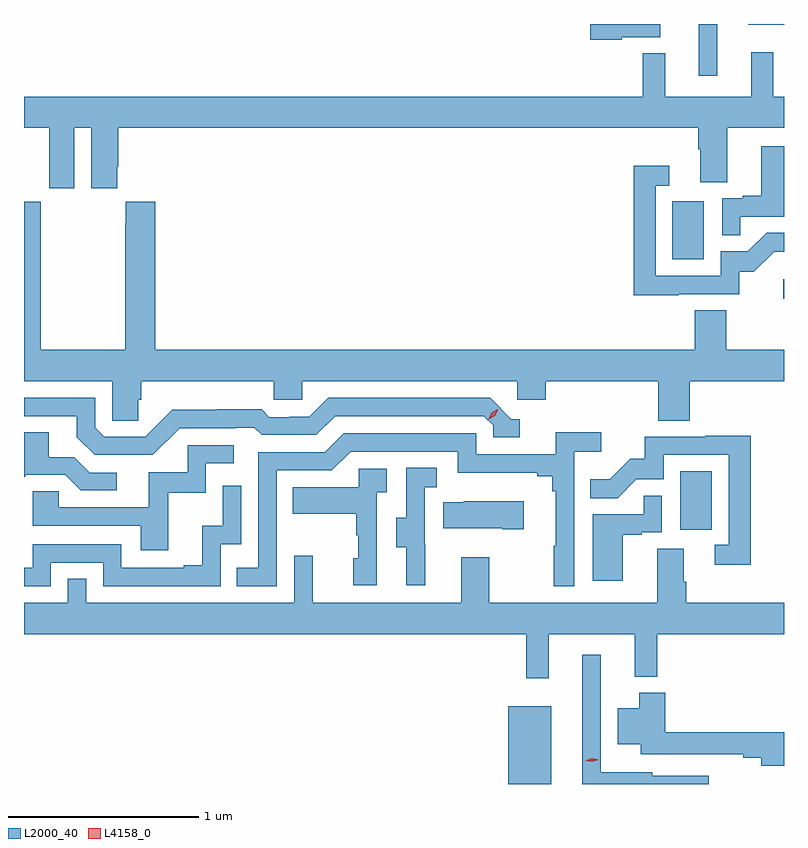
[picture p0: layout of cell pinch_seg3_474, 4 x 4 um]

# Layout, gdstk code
import gdstk
lib = gdstk.Library(unit=1e-6, precision=1e-09)
def R(c, l, rs):  # rectangles x0, y0, x1, y1
    for r in rs: c.add(gdstk.rectangle(r[:2], r[2:], *l))
def P(c, l, *ps):  # polygons
    for p in ps: c.add(gdstk.Polygon(p, *l))
L2000_40 = (2000, 40)
L4158_0 = (4158, 0)

pinch_seg3_474 = lib.new_cell('pinch_seg3_474')
R(pinch_seg3_474, L2000_40, [(937.46,682.811,937.687,683.221), (938.366,684.15,938.53,684.457), (938.907,685.366,938.911,685.468), (938.324,685.572,938.488,685.879), (938.463,686.538,938.56,686.811), (938.723,686.807,938.911,686.811)])
P(pinch_seg3_474, L2000_40, [(938.058,686.741),(938.26,686.741),(938.26,686.811),(937.892,686.811),(937.892,686.729),(938.058,686.729)],
  [(935.176,686.264),(935.264,686.264),(935.264,685.947),(935.401,685.947),(935.401,686.059),(935.408,686.059),(935.408,686.264),(938.459,686.264),(938.459,686.152),(938.471,686.152),(938.471,685.978),(938.611,685.978),(938.611,686.264),(938.911,686.264),(938.911,686.428),(938.855,686.428),(938.855,686.662),(938.738,686.662),(938.738,686.428),(938.285,686.428),(938.285,686.656),(938.167,686.656),(938.167,686.428),(934.911,686.428),(934.911,686.264),(935.045,686.264),(935.045,685.947),(935.176,685.947)],
  [(938.681,685.797),(938.911,685.797),(938.911,686.167),(938.792,686.167),(938.792,685.906),(938.693,685.906),(938.693,685.893),(938.586,685.893),(938.586,685.699),(938.681,685.699)],
  [(938.357,685.389),(938.676,685.389),(938.676,685.506),(938.752,685.506),(938.859,685.613),(938.911,685.613),(938.911,685.712),(938.819,685.712),(938.721,685.614),(938.577,685.614),(938.577,685.485),(938.235,685.485),(938.235,685.959),(938.308,685.959),(938.308,686.065),(938.119,686.065),(938.119,685.384),(938.357,685.384)],
  [(935.603,685.876),(935.447,685.876),(935.447,685.763),(935.443,685.763),(935.443,685.096),(934.998,685.096),(934.998,685.876),(934.911,685.876),(934.911,684.932),(935.376,684.932),(935.376,684.724),(935.513,684.724),(935.513,684.834),(935.528,684.834),(935.528,684.932),(936.225,684.932),(936.225,684.834),(936.375,684.834),(936.375,684.932),(937.506,684.932),(937.506,684.834),(937.658,684.834),(937.658,684.932),(938.249,684.932),(938.249,684.724),(938.414,684.724),(938.414,684.932),(938.911,684.932),(938.911,685.096),(938.606,685.096),(938.606,685.304),(938.441,685.304),(938.441,685.096),(935.603,685.096)],
  [(935.73,684.684),(936.023,684.684),(936.023,684.687),(936.122,684.687),(936.161,684.648),(936.45,684.648),(936.549,684.747),(937.332,684.747),(937.38,684.699),(937.38,684.636),(937.519,684.636),(937.519,684.732),(937.476,684.732),(937.365,684.843),(936.512,684.843),(936.413,684.744),(936.306,684.744),(936.306,684.741),(936.203,684.741),(936.161,684.784),(935.928,684.784),(935.928,684.781),(935.692,684.781),(935.55,684.639),(935.334,684.639),(935.286,684.687),(935.286,684.843),(934.911,684.843),(934.911,684.747),(935.189,684.747),(935.189,684.637),(935.283,684.543),(935.589,684.543)],
  [(935.398,684.45),(935.256,684.45),(935.176,684.53),(935.041,684.53),(935.041,684.662),(934.911,684.662),(934.911,684.426),(934.923,684.438),(935.129,684.438),(935.21,684.357),(935.398,684.357)],
  [(936.24,684.462),(936.531,684.462),(936.63,684.561),(937.194,684.561),(937.194,684.449),(937.613,684.449),(937.613,684.43),(937.69,684.43),(937.69,684.353),(937.709,684.353),(937.709,684.065),(937.698,684.065),(937.698,683.853),(937.806,683.853),(937.806,684.56),(937.948,684.56),(937.948,684.662),(937.709,684.662),(937.709,684.546),(937.29,684.546),(937.29,684.657),(936.593,684.657),(936.494,684.558),(936.144,684.558),(936.144,683.949),(936.031,683.949),(936.031,683.853),(936.24,683.853)],
  [(938.735,684.644),(938.497,684.644),(938.497,684.639),(938.179,684.639),(938.179,684.522),(938.102,684.522),(937.995,684.415),(937.891,684.415),(937.891,684.316),(938.035,684.316),(938.133,684.414),(938.277,684.414),(938.277,684.543),(938.619,684.543),(938.619,684.069),(938.547,684.069),(938.547,683.964),(938.735,683.964)],
  [(935.669,684.345),(935.868,684.345),(935.868,684.498),(936.016,684.498),(936.016,684.594),(935.772,684.594),(935.772,684.453),(935.567,684.453),(935.567,684.267),(935.093,684.267),(935.093,684.351),(934.956,684.351),(934.956,684.171),(935.525,684.171),(935.525,684.042),(935.669,684.042)],
  [(937.022,684.069),(937.02,684.069),(937.02,684.373),(937.084,684.373),(937.084,684.476),(936.924,684.476),(936.924,684.213),(936.869,684.213),(936.869,684.058),(936.923,684.058),(936.923,683.856),(937.022,683.856)],
  [(936.768,684.347),(936.82,684.347),(936.82,684.471),(936.672,684.471),(936.672,684.373),(936.325,684.373),(936.325,684.233),(936.66,684.233),(936.66,684.119),(936.67,684.119),(936.67,684),(936.644,684),(936.644,683.856),(936.768,683.856)],
  [(935.052,683.976),(935.328,683.976),(935.328,683.853),(935.946,683.853),(935.946,684.072),(936.054,684.072),(936.054,684.382),(935.958,684.382),(935.958,684.17),(935.849,684.17),(935.849,683.962),(935.753,683.962),(935.753,683.949),(935.424,683.949),(935.424,684.072),(934.956,684.072),(934.956,683.949),(934.911,683.949),(934.911,683.853),(935.052,683.853)],
  [(938.062,684.123),(938.162,684.123),(938.162,684.135),(938.268,684.135),(938.268,684.329),(938.173,684.329),(938.173,684.231),(937.904,684.231),(937.904,683.88),(938.062,683.88)],
  [(937.54,684.298),(937.225,684.298),(937.225,684.295),(937.117,684.295),(937.117,684.158),(937.427,684.158),(937.427,684.151),(937.54,684.151)],
  [(937.673,683.6),(938.126,683.6),(938.126,683.375),(938.243,683.375),(938.243,683.6),(938.911,683.6),(938.911,683.764),(938.396,683.764),(938.396,683.876),(938.383,683.876),(938.383,684.05),(938.243,684.05),(938.243,683.764),(937.359,683.764),(937.359,684.004),(937.211,684.004),(937.211,683.764),(936.431,683.764),(936.431,684.013),(936.333,684.013),(936.333,683.764),(935.238,683.764),(935.238,683.891),(935.142,683.891),(935.142,683.764),(934.911,683.764),(934.911,683.6),(937.555,683.6),(937.555,683.367),(937.673,683.367)],
  [(938.515,682.855),(938.217,682.855),(938.217,682.873),(937.947,682.873),(937.947,683.491),(937.85,683.491),(937.85,682.811),(938.515,682.811)],
  [(938.911,683.084),(938.285,683.084),(938.285,683.29),(938.15,683.29),(938.15,683.209),(938.036,683.209),(938.036,683.021),(938.156,683.021),(938.156,682.968),(938.696,682.968),(938.696,682.948),(938.792,682.948),(938.792,682.906),(938.911,682.906)])
P(pinch_seg3_474, L4158_0, [(937.902,682.927),(937.866,682.934),(937.866,682.934),(937.866,682.934),(937.9,682.947),(937.936,682.939),(937.937,682.939),(937.936,682.939)],
  [(937.358,684.731),(937.358,684.731),(937.374,684.764),(937.405,684.783),(937.406,684.783),(937.406,684.783),(937.389,684.75),(937.358,684.731)])

lib.write_gds('pinch_seg3_474.gds')
